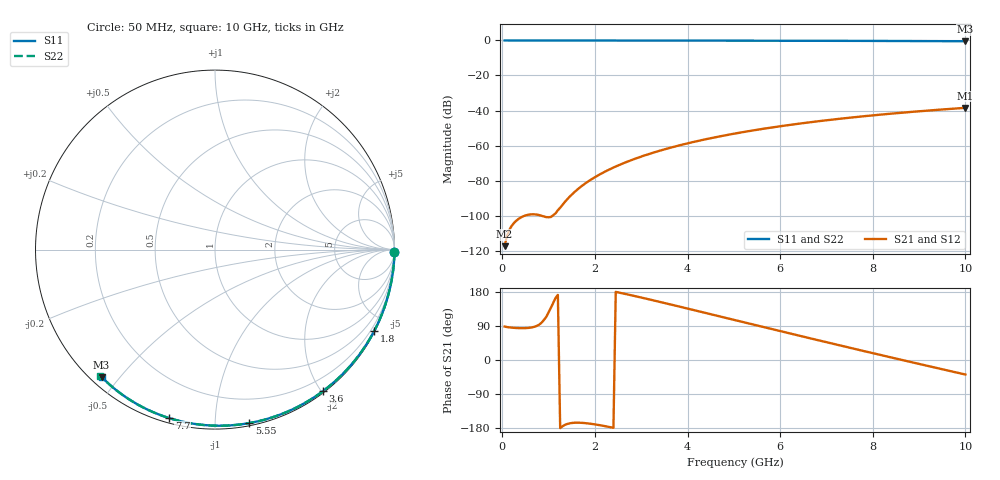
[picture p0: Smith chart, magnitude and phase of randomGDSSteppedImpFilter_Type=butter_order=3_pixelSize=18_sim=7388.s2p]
! freq	dB(S11)	phase(S11)	dB(S12)	phase(S12)
!  dB(S21)	phase(S21)	dB(S22)	phase(S22)
!S-par simulation data
#  GHz  S  DB  R 50
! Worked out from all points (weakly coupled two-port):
!   200 points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, 50 MHz to 10 GHz, reference 50 ohm
!   highest |S21| = -38.47 dB at 10 GHz (marker M1); lowest = -117.4 dB at 50 MHz (marker M2)
!   lowest |S11| = -0.4 dB at 10 GHz (marker M3), VSWR 39.11, Z = 1.54 - j22.4 ohm
!   |S11| at or under -10 dB: nowhere
!   |S22| runs from -0.4 to 0.0 dB; largest |S21 - S12| = 0
!   S11 on the Smith chart (normalised r, x): 50 MHz: open; 1.8 GHz: 0.04, -4.17; 3.6 GHz: 0.02, -2.02; 5.55 GHz: 0.02, -1.22; 7.7 GHz: 0.02, -0.76; 10 GHz: 0.03, -0.45
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0.05  -0.00 -0.8  -117.43 88.3  -117.43 88.3  -0.00 -0.8
0.9  -0.02 -13.6  -100.52 105.7  -100.52 105.7  -0.02 -13.7
1.75  -0.03 -26.3  -82.41 -166.1  -82.41 -166.1  -0.03 -26.4
1.8  -0.03 -27.0  -81.46 -166.7  -81.46 -166.7  -0.03 -27.1
1.85  -0.04 -27.7  -80.56 -167.3  -80.56 -167.3  -0.04 -27.8
1.9  -0.04 -28.5  -79.69 -168.1  -79.69 -168.1  -0.04 -28.6
2.05  -0.04 -30.7  -77.28 -170.9  -77.28 -170.9  -0.04 -30.8
2.25  -0.04 -33.6  -74.45 -175.3  -74.45 -175.3  -0.04 -33.7
2.45  -0.05 -36.5  -71.95 179.8  -71.95 179.8  -0.05 -36.6
2.65  -0.05 -39.3  -69.71 174.5  -69.71 174.5  -0.05 -39.5
3  -0.06 -44.3  -66.28 164.9  -66.28 164.9  -0.06 -44.5
3.4  -0.07 -50.0  -62.94 153.4  -62.94 153.4  -0.07 -50.2
3.6  -0.07 -52.8  -61.44 147.6  -61.44 147.6  -0.07 -53.0
4.3  -0.09 -62.4  -56.93 126.9  -56.93 126.9  -0.09 -62.6
5.05  -0.11 -72.3  -53.00 104.5  -53.00 104.5  -0.11 -72.6
5.55  -0.13 -78.8  -50.77 89.6  -50.77 89.6  -0.13 -79.1
6.1  -0.15 -85.8  -48.60 73.4  -48.60 73.4  -0.15 -86.2
6.7  -0.18 -93.2  -46.51 55.7  -46.51 55.7  -0.18 -93.6
7.7  -0.24 -105.2  -43.54 26.7  -43.54 26.7  -0.24 -105.7
8.35  -0.29 -112.9  -41.89 8.0  -41.89 8.0  -0.29 -113.4
9.15  -0.36 -122.0  -40.11 -14.6  -40.11 -14.6  -0.36 -122.7
10  -0.44 -131.7  -38.47 -38.4  -38.47 -38.4  -0.45 -132.4
